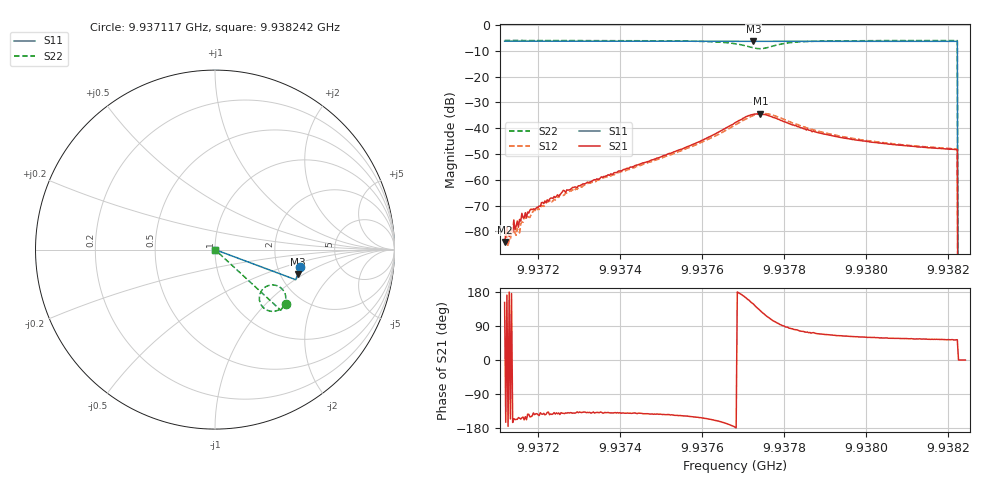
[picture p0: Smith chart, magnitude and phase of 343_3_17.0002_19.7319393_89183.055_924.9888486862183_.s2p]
#  HZ  S  RI  R  50.00
! Rohde & Schwarz Vector Network Analyzer
! Rohde-Schwarz,ZNB20-2Port,1311601062101988,3.16
! Created: UTC 3/20/2024, 11:07:25 PM
! freq[Hz]  re:S11  im:S11  re:S21  im:S21  re:S12  im:S12  re:S22  im:S22
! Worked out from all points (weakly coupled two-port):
!   401 points, 9.937117 GHz to 9.938242 GHz, reference 50 ohm
!   highest |S21| = -34.45 dB at 9.937742 GHz (marker M1); lowest = -84.1 dB at 9.937117 GHz (marker M2)
!   lowest |S11| = -6.4 dB at 9.937725 GHz (marker M3), VSWR 2.84, Z = 124 - j43.6 ohm
!   |S11| at or under -10 dB: 9.938223 GHz to end of sweep
!   |S22| runs from - to -6.0 dB; largest |S21 - S12| = 0.0036
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9.9371173e9  0.4746 -0.096  -5.48e-05 2.95e-05  -4.37e-05 3.53e-05  0.3949 -0.3052
9.9371314e9  0.4744 -0.0969  -8.9e-05 -4.02e-05  -6.58e-05 1.24e-05  0.3941 -0.306
9.9371482e9  0.4739 -0.0981  -0.000146 -6.33e-05  -9.19e-05 -6.91e-05  0.3931 -0.307
9.9371567e9  0.4739 -0.0987  -0.000146 -6.55e-05  -0.000124 -6.76e-05  0.3928 -0.3076
9.9371623e9  0.4737 -0.099  -0.000161 -9.12e-05  -0.000135 -6.82e-05  0.3922 -0.3082
9.9371932e9  0.4733 -0.1012  -0.000219 -0.00017  -0.000208 -0.000146  0.3903 -0.3102
9.9372242e9  0.4727 -0.1033  -0.000285 -0.000262  -0.000324 -0.000198  0.3882 -0.3122
9.9372579e9  0.472 -0.1055  -0.000447 -0.000371  -0.000387 -0.000315  0.3856 -0.3145
9.9373057e9  0.4711 -0.1086  -0.000609 -0.000537  -0.000532 -0.000485  0.3818 -0.318
9.9374941e9  0.4672 -0.1213  -0.00215 -0.0016  -0.00205 -0.00151  0.3601 -0.3339
9.9375954e9  0.4646 -0.1281  -0.00496 -0.00263  -0.00459 -0.00248  0.334 -0.3429
9.9376798e9  0.4617 -0.1336  -0.0127 -0.000649  -0.0113 -0.00145  0.2781 -0.3305
9.9377247e9  0.46 -0.1352  -0.0156 0.0099  -0.0162 0.00689  0.2475 -0.2603
9.9377416e9  0.4599 -0.1357  -0.0122 0.0145  -0.0146 0.0122  0.2656 -0.2212
9.9377669e9  0.4602 -0.1371  -0.00525 0.0162  -0.00795 0.0167  0.323 -0.1968
9.9377979e9  0.4601 -0.1392  -3.98e-05 0.0135  -0.00115 0.0148  0.3739 -0.2197
9.9378682e9  0.4588 -0.1444  0.00268 0.00809  0.00287 0.009  0.3945 -0.2749
9.9379441e9  0.4571 -0.1496  0.00288 0.0058  0.00308 0.0061  0.3888 -0.3017
9.9380566e9  0.4541 -0.157  0.00262 0.00412  0.00272 0.00427  0.3781 -0.3211
9.9382169e9  0.4497 -0.1674  0.00233 0.00309  0.00243 0.00315  0.3657 -0.3366
9.9382309e9  0 0  0 0  0 0  0 0
9.9382422e9  0 0  0 0  0 0  0 0
